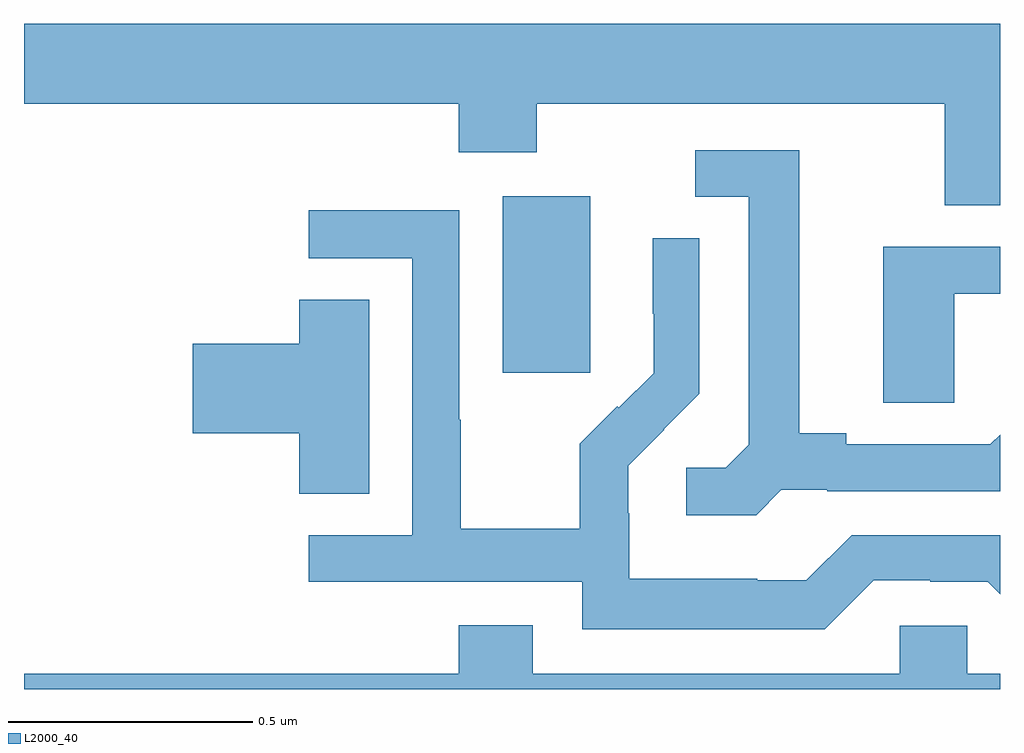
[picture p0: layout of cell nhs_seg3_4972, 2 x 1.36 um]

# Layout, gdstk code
import gdstk
lib = gdstk.Library(unit=1e-6, precision=1e-09)
def R(c, l, rs):  # rectangles x0, y0, x1, y1
    for r in rs: c.add(gdstk.rectangle(r[:2], r[2:], *l))
def P(c, l, *ps):  # polygons
    for p in ps: c.add(gdstk.Polygon(p, *l))
L2000_40 = (2000, 40)

nhs_seg3_4972 = lib.new_cell('nhs_seg3_4972')
R(nhs_seg3_4972, L2000_40, [(173.981,683.049,174.16,683.41)])
P(nhs_seg3_4972, L2000_40, [(175,683.764),(173,683.764),(173,683.6),(173.891,683.6),(173.891,683.501),(174.051,683.501),(174.051,683.6),(174.887,683.6),(174.887,683.392),(175,683.392)],
  [(174.552,682.809),(174.646,682.809),(174.646,682.806),(175,682.806),(175,682.922),(174.98,682.902),(174.685,682.902),(174.685,682.925),(174.589,682.925),(174.589,683.505),(174.375,683.505),(174.375,683.409),(174.485,683.409),(174.485,682.901),(174.438,682.854),(174.357,682.854),(174.357,682.757),(174.5,682.757)],
  [(174.741,682.623),(174.857,682.623),(174.857,682.62),(174.975,682.62),(175,682.595),(175,682.716),(174.696,682.716),(174.603,682.623),(174.503,682.623),(174.503,682.627),(174.24,682.627),(174.24,682.761),(174.238,682.761),(174.238,682.858),(174.312,682.932),(174.311,682.933),(174.384,683.006),(174.384,683.324),(174.288,683.324),(174.288,683.17),(174.29,683.17),(174.29,683.048),(174.219,682.977),(174.216,682.98),(174.139,682.903),(174.139,682.729),(173.895,682.729),(173.895,682.952),(173.892,682.952),(173.892,683.382),(173.583,683.382),(173.583,683.283),(173.796,683.283),(173.796,682.716),(173.583,682.716),(173.583,682.62),(174.144,682.62),(174.144,682.523),(174.641,682.523)],
  [(174.906,683.211),(175,683.211),(175,683.307),(174.761,683.307),(174.761,682.987),(174.906,682.987)],
  [(173.707,683.198),(173.564,683.198),(173.564,683.108),(173.346,683.108),(173.346,682.925),(173.564,682.925),(173.564,682.801),(173.707,682.801)],
  [(175,682.432),(174.933,682.432),(174.933,682.53),(174.795,682.53),(174.795,682.432),(174.043,682.432),(174.043,682.531),(173.891,682.531),(173.891,682.432),(173,682.432),(173,682.4),(175,682.4)])

lib.write_gds('nhs_seg3_4972.gds')
